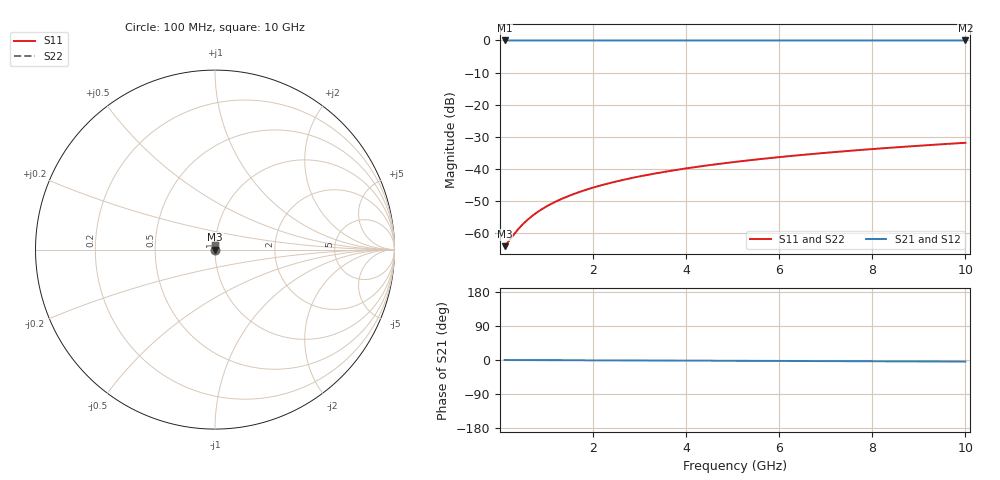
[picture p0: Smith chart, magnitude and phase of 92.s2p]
# Hz S RI R 50.00
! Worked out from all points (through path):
!   100 points, 100 MHz to 10 GHz, reference 50 ohm
!   highest |S21| = -0.01 dB at 100 MHz (marker M1); lowest = 0.0 dB at 10 GHz (marker M2)
!   lowest |S11| = -64.0 dB at 100 MHz (marker M3), VSWR 1.00, Z = 50.1 + j0.0254 ohm
!   |S11| at or under -10 dB: start of sweep to end of sweep
!   |S22| runs from -64.0 to -31.9 dB; largest |S21 - S12| = 0
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1e8  0.000575 0.000254  0.9994 -0.000723  0.9994 -0.000723  0.000575 0.000254
2e8  0.000579 0.000507  0.9994 -0.00145  0.9994 -0.00145  0.000579 0.000507
3e8  0.000583 0.000761  0.9994 -0.00217  0.9994 -0.00217  0.000583 0.000761
4e8  0.000586 0.00101  0.9994 -0.00289  0.9994 -0.00289  0.000586 0.00101
5e8  0.000589 0.00127  0.9994 -0.00361  0.9994 -0.00361  0.000589 0.00127
6e8  0.000593 0.00152  0.9994 -0.00434  0.9994 -0.00434  0.000593 0.00152
7e8  0.000597 0.00178  0.9994 -0.00506  0.9994 -0.00506  0.000597 0.00178
8e8  0.000601 0.00203  0.9994 -0.00578  0.9994 -0.00578  0.000601 0.00203
1e9  0.000609 0.00254  0.9994 -0.00723  0.9994 -0.00723  0.000609 0.00254
1.2e9  0.000619 0.00304  0.9994 -0.00868  0.9994 -0.00868  0.000619 0.00304
1.5e9  0.000637 0.00381  0.9993 -0.0108  0.9993 -0.0108  0.000637 0.00381
1.8e9  0.000657 0.00457  0.9993 -0.013  0.9993 -0.013  0.000657 0.00457
2.1e9  0.00068 0.00533  0.9993 -0.0152  0.9993 -0.0152  0.00068 0.00533
2.5e9  0.000717 0.00634  0.9992 -0.0181  0.9992 -0.0181  0.000717 0.00634
2.9e9  0.000758 0.00736  0.9991 -0.021  0.9991 -0.021  0.000758 0.00736
3.4e9  0.000819 0.00863  0.999 -0.0246  0.999 -0.0246  0.000819 0.00863
4.2e9  0.000934 0.0107  0.9989 -0.0304  0.9989 -0.0304  0.000934 0.0107
5.1e9  0.00109 0.0129  0.9986 -0.0369  0.9986 -0.0369  0.00109 0.0129
5.9e9  0.00126 0.015  0.9983 -0.0427  0.9983 -0.0427  0.00126 0.015
6.7e9  0.00145 0.017  0.998 -0.0486  0.998 -0.0486  0.00145 0.017
8.4e9  0.00193 0.0213  0.9972 -0.0609  0.9972 -0.0609  0.00193 0.0213
1e10  0.00249 0.0254  0.9964 -0.0726  0.9964 -0.0726  0.00249 0.0254
